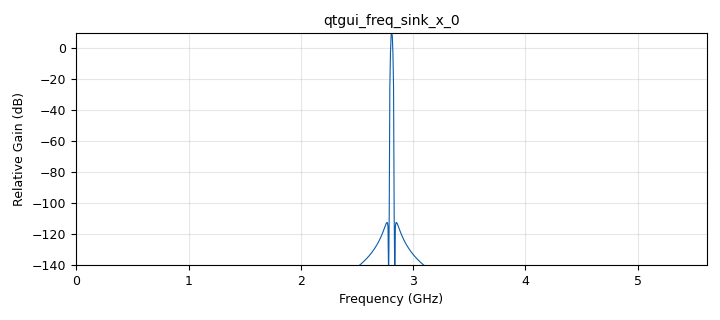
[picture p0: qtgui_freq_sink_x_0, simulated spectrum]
<?xml version='1.0' encoding='utf-8'?>
<?grc format='1' created='3.7.11'?>
<flow_graph>
<block>
<key>options</key>
<param><key>id</key><value>top_block</value></param>
<param><key>generate_options</key><value>qt_gui</value></param>
</block>
<block>
<key>variable</key>
<param><key>id</key><value>frequency</value></param>
<param><key>value</key><value>2.81e9</value></param>
</block>
<block>
<key>variable</key>
<param><key>id</key><value>samp_rate</value></param>
<param><key>value</key><value>frequency * 2</value></param>
</block>
<block>
<key>analog_sig_source_x</key>
<param><key>id</key><value>analog_sig_source_x_0</value></param>
<param><key>amp</key><value>10</value></param>
<param><key>freq</key><value>10</value></param>
<param><key>offset</key><value>0</value></param>
<param><key>type</key><value>complex</value></param>
<param><key>samp_rate</key><value>samp_rate</value></param>
<param><key>waveform</key><value>analog.GR_COS_WAVE</value></param>
</block>
<block>
<key>osmosdr_sink</key>
<param><key>id</key><value>osmosdr_sink_0</value></param>
<param><key>bb_gain0</key><value>40</value></param>
<param><key>bw0</key><value>1000</value></param>
<param><key>freq0</key><value>frequency</value></param>
<param><key>if_gain0</key><value>40</value></param>
<param><key>gain0</key><value>10</value></param>
<param><key>args</key><value></value></param>
<param><key>type</key><value>fc32</value></param>
<param><key>sample_rate</key><value>samp_rate</value></param>
</block>
<block>
<key>qtgui_freq_sink_x</key>
<param><key>id</key><value>qtgui_freq_sink_x_0</value></param>
<param><key>bw</key><value>samp_rate</value></param>
<param><key>fc</key><value>frequency</value></param>
<param><key>fftsize</key><value>1024</value></param>
<param><key>showports</key><value>True</value></param>
<param><key>type</key><value>complex</value></param>
<param><key>wintype</key><value>firdes.WIN_BLACKMAN_hARRIS</value></param>
</block>
<connection><source_block_id>analog_sig_source_x_0</source_block_id><sink_block_id>osmosdr_sink_0</sink_block_id><source_key>0</source_key><sink_key>0</sink_key></connection>
<connection><source_block_id>analog_sig_source_x_0</source_block_id><sink_block_id>qtgui_freq_sink_x_0</sink_block_id><source_key>0</source_key><sink_key>0</sink_key></connection>
</flow_graph>
